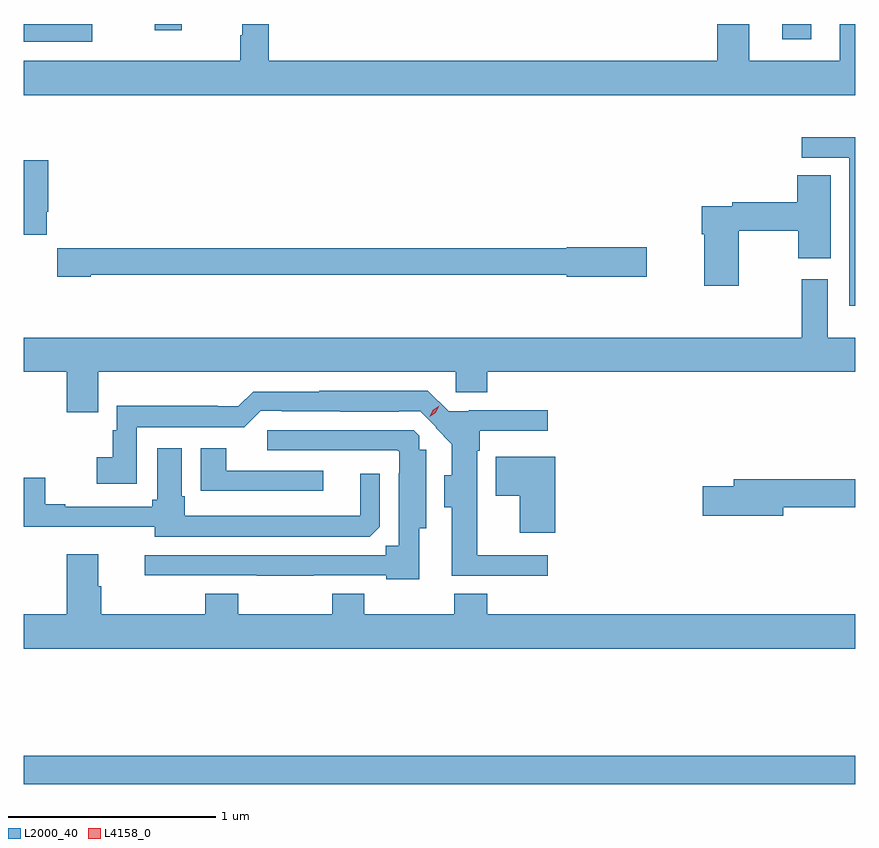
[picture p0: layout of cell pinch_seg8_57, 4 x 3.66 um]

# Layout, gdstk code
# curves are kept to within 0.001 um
import gdstk
lib = gdstk.Library(unit=1e-6, precision=1e-09)
def R(c, l, rs):  # rectangles x0, y0, x1, y1
    for r in rs: c.add(gdstk.rectangle(r[:2], r[2:], *l))
def P(c, l, *ps):  # polygons
    for p in ps: c.add(gdstk.Polygon(p, *l))
L2000_40 = (2000, 40)
L4158_0 = (4158, 0)

pinch_seg8_57 = lib.new_cell('pinch_seg8_57')
R(pinch_seg8_57, L2000_40, [(889.785,1102.528,893.785,1102.664), (889.785,1106.1,890.113,1106.186), (893.435,1106.112,893.575,1106.186), (890.414,1106.157,890.544,1106.186)])
P(pinch_seg8_57, L2000_40, [(893.785,1106.186),(893.711,1106.186),(893.711,1106.008),(893.275,1106.008),(893.275,1106.186),(893.123,1106.186),(893.123,1106.008),(890.963,1106.008),(890.963,1106.186),(890.835,1106.186),(890.835,1106.132),(890.827,1106.132),(890.827,1106.008),(889.785,1106.008),(889.785,1105.844),(893.785,1105.844)],
  [(893.785,1105.64),(893.529,1105.64),(893.529,1105.542),(893.757,1105.542),(893.757,1104.83),(893.785,1104.83)],
  [(889.894,1105.282),(889.901,1105.282),(889.901,1105.531),(889.785,1105.531),(889.785,1105.171),(889.894,1105.171)],
  [(893.226,1105.192),(893.512,1105.192),(893.512,1105.059),(893.668,1105.059),(893.668,1105.457),(893.507,1105.457),(893.507,1105.328),(893.194,1105.328),(893.194,1105.308),(893.048,1105.308),(893.048,1105.175),(893.06,1105.175),(893.06,1104.927),(893.226,1104.927)],
  [(890.106,1104.978),(892.398,1104.978),(892.398,1104.97),(892.783,1104.97),(892.783,1105.112),(892.398,1105.112),(892.398,1105.106),(889.944,1105.106),(889.944,1104.97),(890.106,1104.97)],
  [(890.143,1104.512),(891.864,1104.512),(891.864,1104.414),(892.016,1104.414),(892.016,1104.512),(893.785,1104.512),(893.785,1104.676),(893.653,1104.676),(893.653,1104.958),(893.528,1104.958),(893.528,1104.676),(889.785,1104.676),(889.785,1104.512),(889.991,1104.512),(889.991,1104.318),(890.143,1104.318)],
  [(892.306,1103.628),(891.967,1103.628),(891.967,1104.131),(891.979,1104.131),(891.979,1104.228),(892.306,1104.228),(892.306,1104.326),(891.925,1104.326),(891.925,1104.321),(891.829,1104.321),(891.729,1104.421),(891.207,1104.421),(891.207,1104.417),(890.889,1104.417),(890.817,1104.345),(890.717,1104.345),(890.717,1104.349),(890.232,1104.349),(890.232,1104.23),(890.212,1104.23),(890.212,1104.1),(890.136,1104.1),(890.136,1103.972),(890.328,1103.972),(890.328,1104.245),(890.846,1104.245),(890.925,1104.324),(891.025,1104.324),(891.025,1104.321),(891.693,1104.321),(891.77,1104.245),(891.767,1104.242),(891.845,1104.163),(891.845,1104.013),(891.809,1104.013),(891.809,1103.861),(891.845,1103.861),(891.845,1103.531),(892.306,1103.531)],
  [(891.688,1103.759),(891.721,1103.759),(891.721,1104.138),(891.687,1104.138),(891.687,1104.204),(891.66,1104.231),(890.955,1104.231),(890.955,1104.135),(891.582,1104.135),(891.591,1104.126),(891.59,1103.675),(891.527,1103.675),(891.527,1103.628),(890.367,1103.628),(890.367,1103.532),(891.528,1103.532),(891.528,1103.513),(891.688,1103.513)],
  [(891.498,1103.766),(891.498,1104.022),(891.403,1104.022),(891.403,1103.818),(890.558,1103.818),(890.558,1103.914),(890.545,1103.914),(890.545,1104.145),(890.426,1104.145),(890.426,1103.895),(890.402,1103.895),(890.402,1103.862),(889.984,1103.862),(889.984,1103.875),(889.888,1103.875),(889.888,1104.002),(889.785,1104.002),(889.785,1103.765),(890.414,1103.765),(890.414,1103.717),(891.449,1103.717)],
  [(891.226,1104.036),(890.758,1104.036),(890.758,1104.145),(890.636,1104.145),(890.636,1103.94),(891.226,1103.94)],
  [(892.343,1104.103),(892.055,1104.103),(892.055,1103.915),(892.172,1103.915),(892.172,1103.738),(892.343,1103.738)],
  [(893.44,1103.86),(893.785,1103.86),(893.785,1103.996),(893.201,1103.996),(893.201,1103.96),(893.052,1103.96),(893.052,1103.818),(893.44,1103.818)],
  [(893.785,1103.344),(892.016,1103.344),(892.016,1103.443),(891.856,1103.443),(891.856,1103.344),(891.423,1103.344),(891.423,1103.443),(891.268,1103.443),(891.268,1103.344),(890.817,1103.344),(890.817,1103.443),(890.657,1103.443),(890.657,1103.344),(890.156,1103.344),(890.156,1103.481),(890.143,1103.481),(890.143,1103.635),(889.991,1103.635),(889.991,1103.344),(889.785,1103.344),(889.785,1103.18),(893.785,1103.18)])
P(pinch_seg8_57, L4158_0, [(891.738,1104.295),(891.738,1104.296),(891.753,1104.328),(891.783,1104.348),(891.783,1104.348),(891.783,1104.348),(891.768,1104.315),(891.738,1104.295)])

lib.write_gds('pinch_seg8_57.gds')
